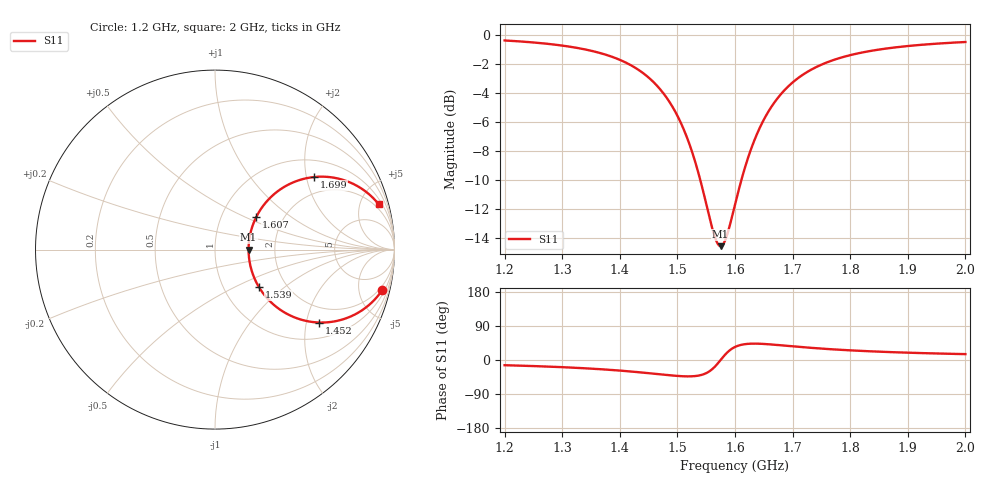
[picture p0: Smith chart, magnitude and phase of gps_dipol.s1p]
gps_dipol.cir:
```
* GPS-Dipol als Serien-RLC-Ersatzschaltbild, "gemessen" wie mit einem VNA
*
* V1 + Rs = VNA-Port: Quelle mit 50 Ohm Innenwiderstand
* Rant, Lant, Cant = Antenne nahe der Resonanz (f0 = 1,575 GHz, R = 73 Ohm, Q = 10)
*
* Nach dem Run im Plotfenster: Rechtsklick > Add Traces
*   S11:        2*V(in)-1
*   Impedanz:   V(in)/I(Rs)

V1 src 0 AC 1
Rs src in 50
Rant in n1 73
Lant n1 n2 73.77n
Cant n2 0 138.4f

.ac lin 801 1.2G 2.0G
.end
```
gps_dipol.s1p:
! Created with skrf 2.1.0 (http://scikit-rf.org).
# Hz S RI R 50.0
!freq ReS11 ImS11
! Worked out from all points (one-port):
!   801 points, 1.2 GHz to 2 GHz, reference 50 ohm
!   lowest |S11| = -14.6 dB at 1.575 GHz (marker M1), VSWR 1.46, Z = 73 + j0 ohm
!   |S11| at or under -10 dB: 1.54 GHz to 1.611 GHz (71.34 MHz wide, 4.53 % of centre)
!   S11 on the Smith chart (normalised r, x): 1.2 GHz: 1.46, -8.04; 1.452 GHz: 1.46, -2.38; 1.539 GHz: 1.46, -0.68; 1.607 GHz: 1.46, +0.59; 1.699 GHz: 1.46, +2.22; 2 GHz: 1.46, +7.04
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1.2e9  0.9304 -0.2275
1.35e9  0.8142 -0.3414
1.452e9  0.5795 -0.4063
1.467e9  0.5252 -0.4007
1.507e9  0.3622 -0.3343
1.539e9  0.244 -0.2075
1.563e9  0.1936 -0.0732
1.575e9  0.187 0
1.607e9  0.2308 0.1836
1.647e9  0.3657 0.3367
1.699e9  0.551 0.4043
1.734e9  0.6476 0.4029
1.841e9  0.8177 0.3391
2e9  0.9116 0.2531
